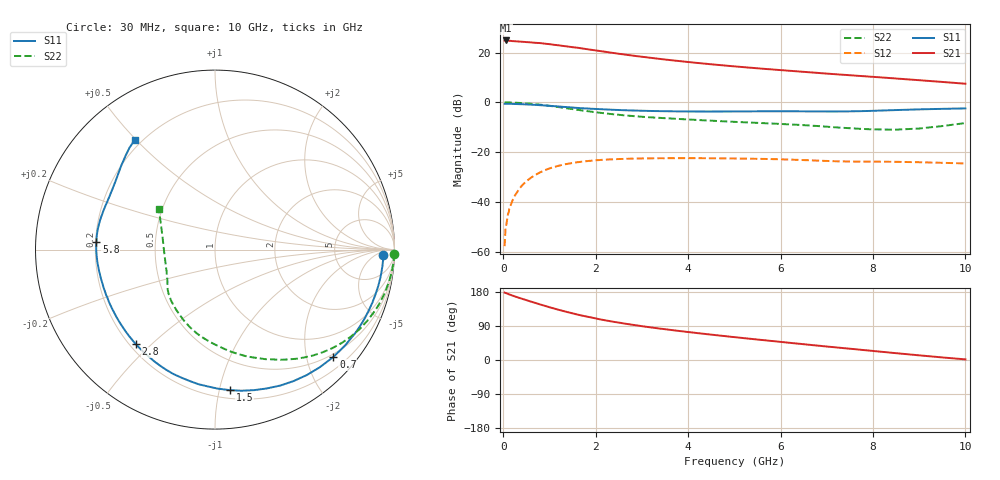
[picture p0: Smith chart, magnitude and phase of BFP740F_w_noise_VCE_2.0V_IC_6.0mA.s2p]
! Infineon Technologies  Discrete & RF Semiconductors
! BFP740F
! VCE =  2.0 V,  IC =  6.0 mA
! Common Emitter S-Parameters:  Oct 2012
# GHz  S  MA  R  50
!  f  S11  S21  S12  S22
! GHz  MAG  ANG  MAG  ANG  MAG  ANG  MAG  ANG
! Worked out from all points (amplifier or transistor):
!   99 points, 30 MHz to 10 GHz, reference 50 ohm
!   highest |S21| = 24.9 dB at 50 MHz (marker M1)
!   |S21| within 3 dB of that: start of sweep to 1.635 GHz
!   unconditionally stable (mu >= 1): 7.269 GHz to end of sweep
!   at 350 MHz: K = 0.05, MSG = 29.5 dB, |S12| = -34.6 dB
!   at 3.5 GHz: K = 0.37, MSG = 19.8 dB, |S12| = -22.4 dB
!   at 10 GHz: K = 1.30, MAG = 12.7 dB, |S12| = -24.5 dB
!   lowest NFmin = 0.39 dB at 450 MHz
!   S11 on the Smith chart (normalised r, x): 30 MHz: 25, -13; 700 MHz: 0.44, -2.53; 1.5 GHz: 0.26, -1.08; 2.8 GHz: 0.22, -0.45; 5.8 GHz: 0.20, +0.03; 10 GHz: 0.17, +0.49
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0.03  0.9386 -1.9  17.33 177.8  0.0013 97.6  0.9975 -1.3
0.05  0.9384 -3.1  17.49 177.0  0.0031 88.4  0.9981 -2.1
0.15  0.9348 -9.5  17.18 172.2  0.0081 84.8  0.9934 -6.5
0.35  0.9214 -21.6  16.63 163.8  0.0186 77.3  0.975 -14.8
0.6  0.9001 -36.5  15.98 154.1  0.0308 68.6  0.9374 -24.9
0.7  0.8903 -42.2  15.67 150.4  0.0352 64.9  0.9197 -28.8
0.8  0.8778 -48.3  15.49 146.5  0.0395 61.6  0.8987 -32.7
1  0.8532 -59.2  14.74 139.3  0.0472 55.1  0.8532 -40.1
1.2  0.8258 -69.5  13.96 132.4  0.0535 49.1  0.804 -47.2
1.5  0.7876 -83.9  12.81 123.1  0.0608 41.3  0.7331 -56.6
1.7  0.7635 -93.0  12.12 117.3  0.0644 36.7  0.6894 -62.5
2.1  0.7307 -108.6  10.71 107.1  0.0698 28.6  0.6177 -73.9
2.2  0.7226 -112.1  10.39 104.9  0.0708 26.8  0.6027 -76.3
2.4  0.7086 -118.5  9.761 100.6  0.0723 23.7  0.5759 -81.0
2.8  0.6873 -129.8  8.7 92.9  0.0742 18.3  0.5319 -89.3
3.4  0.6669 -144.0  7.434 82.7  0.0757 11.7  0.4877 -99.7
4.2  0.6558 -159.4  6.19 71.0  0.076 4.9  0.4437 -110.4
5.1  0.6592 -174.0  5.186 59.1  0.0746 -1.2  0.4024 -121.6
5.8  0.6623 176.1  4.597 50.3  0.0727 -5.3  0.3773 -130.0
6.7  0.6588 162.8  3.968 39.2  0.0683 -9.3  0.3394 -141.1
8.5  0.701 138.2  3.014 18.0  0.0641 -11.2  0.2836 -177.4
10  0.7566 126.3  2.368 1.6  0.0595 -13.4  0.3847 144.3
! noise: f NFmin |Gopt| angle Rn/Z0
0.45  0.39  0.32  6  0.21
0.9  0.44  0.32  12  0.18
1.5  0.51  0.32  24  0.14
1.9  0.55  0.31  32  0.13
2.4  0.62  0.3  41  0.12
3.5  0.75  0.27  66  0.11
5.5  0.99  0.17  113  0.19
10  1.49  0.4  -125  0.07
